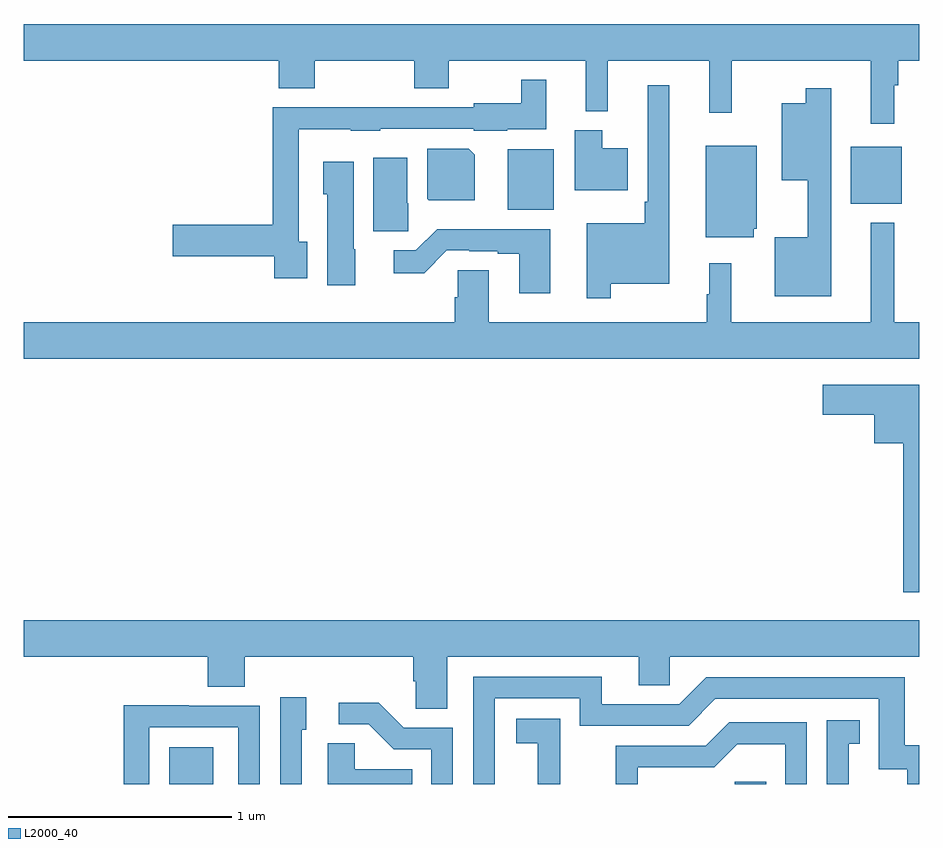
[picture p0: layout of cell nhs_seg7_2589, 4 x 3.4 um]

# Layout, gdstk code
import gdstk
lib = gdstk.Library(unit=1e-6, precision=1e-09)
def R(c, l, rs):  # rectangles x0, y0, x1, y1
    for r in rs: c.add(gdstk.rectangle(r[:2], r[2:], *l))
def P(c, l, *ps):  # polygons
    for p in ps: c.add(gdstk.Polygon(p, *l))
L2000_40 = (2000, 40)

nhs_seg7_2589 = lib.new_cell('nhs_seg7_2589')
R(nhs_seg7_2589, L2000_40, [(279.65,1048,279.847,1048.165), (282.177,1048,282.317,1048.011), (281.162,1050.566,281.368,1050.836), (282.695,1050.593,282.922,1050.847)])
P(nhs_seg7_2589, L2000_40, [(282.889,1051.123),(282.907,1051.123),(282.907,1051.232),(283,1051.232),(283,1051.396),(279,1051.396),(279,1051.232),(280.139,1051.232),(280.139,1051.108),(280.299,1051.108),(280.299,1051.232),(280.744,1051.232),(280.744,1051.108),(280.899,1051.108),(280.899,1051.232),(281.51,1051.232),(281.51,1051.007),(281.609,1051.007),(281.609,1051.232),(282.062,1051.232),(282.062,1050.999),(282.162,1050.999),(282.162,1051.232),(282.785,1051.232),(282.785,1050.951),(282.889,1050.951)],
  [(280.267,1050.422),(280.227,1050.422),(280.227,1050.926),(280.461,1050.926),(280.461,1050.92),(280.593,1050.92),(280.593,1050.927),(281.01,1050.927),(281.01,1050.92),(281.16,1050.92),(281.16,1050.926),(281.333,1050.926),(281.333,1051.147),(281.223,1051.147),(281.223,1051.042),(281.01,1051.042),(281.01,1051.023),(280.593,1051.023),(280.593,1051.025),(280.361,1051.025),(280.361,1051.023),(280.111,1051.023),(280.111,1050.5),(279.666,1050.5),(279.666,1050.358),(280.119,1050.358),(280.119,1050.261),(280.267,1050.261)],
  [(281.623,1050.236),(281.884,1050.236),(281.884,1051.123),(281.787,1051.123),(281.787,1050.601),(281.775,1050.601),(281.775,1050.505),(281.514,1050.505),(281.514,1050.171),(281.623,1050.171)],
  [(282.607,1051.108),(282.493,1051.108),(282.493,1051.042),(282.386,1051.042),(282.386,1050.698),(282.503,1050.698),(282.503,1050.442),(282.356,1050.442),(282.356,1050.179),(282.607,1050.179)],
  [(281.698,1050.841),(281.584,1050.841),(281.584,1050.922),(281.462,1050.922),(281.462,1050.653),(281.698,1050.653)],
  [(282.262,1050.48),(282.274,1050.48),(282.274,1050.853),(282.047,1050.853),(282.047,1050.443),(282.262,1050.443)],
  [(281.014,1050.812),(280.988,1050.838),(280.802,1050.838),(280.802,1050.616),(280.81,1050.608),(281.014,1050.608)],
  [(280.718,1050.594),(280.714,1050.594),(280.714,1050.799),(280.562,1050.799),(280.562,1050.471),(280.718,1050.471)],
  [(280.48,1050.39),(280.474,1050.39),(280.474,1050.781),(280.337,1050.781),(280.337,1050.636),(280.355,1050.636),(280.355,1050.228),(280.48,1050.228)],
  [(283,1050.064),(282.889,1050.064),(282.889,1050.508),(282.785,1050.508),(282.785,1050.064),(282.161,1050.064),(282.161,1050.328),(282.062,1050.328),(282.062,1050.188),(282.051,1050.188),(282.051,1050.064),(281.077,1050.064),(281.077,1050.296),(280.938,1050.296),(280.938,1050.174),(280.925,1050.174),(280.925,1050.064),(279,1050.064),(279,1049.9),(283,1049.9)],
  [(281.353,1050.479),(280.847,1050.479),(280.752,1050.384),(280.653,1050.384),(280.653,1050.282),(280.788,1050.282),(280.89,1050.384),(280.99,1050.384),(280.99,1050.381),(281.117,1050.381),(281.117,1050.369),(281.213,1050.369),(281.213,1050.192),(281.353,1050.192)],
  [(283,1049.785),(282.57,1049.785),(282.57,1049.651),(282.8,1049.651),(282.8,1049.522),(282.93,1049.522),(282.93,1048.857),(283,1048.857)],
  [(280.891,1048.568),(281.747,1048.568),(281.747,1048.441),(281.886,1048.441),(281.886,1048.568),(283,1048.568),(283,1048.732),(279,1048.732),(279,1048.568),(279.821,1048.568),(279.821,1048.435),(279.986,1048.435),(279.986,1048.568),(280.739,1048.568),(280.739,1048.459),(280.752,1048.459),(280.752,1048.336),(280.891,1048.336)],
  [(281.103,1048.383),(281.484,1048.383),(281.484,1048.26),(281.97,1048.26),(282.09,1048.38),(282.819,1048.38),(282.819,1048.065),(282.948,1048.065),(282.948,1048),(283,1048),(283,1048.174),(282.935,1048.174),(282.935,1048.476),(282.048,1048.476),(281.928,1048.356),(281.581,1048.356),(281.581,1048.479),(281.007,1048.479),(281.007,1048),(281.103,1048)],
  [(280.242,1048.242),(280.261,1048.242),(280.261,1048.387),(280.146,1048.387),(280.146,1048),(280.242,1048)],
  [(280.917,1048.251),(280.698,1048.251),(280.585,1048.364),(280.407,1048.364),(280.407,1048.266),(280.541,1048.266),(280.652,1048.155),(280.821,1048.155),(280.821,1048),(280.917,1048)],
  [(279.561,1048.254),(279.957,1048.254),(279.957,1048),(280.053,1048),(280.053,1048.35),(279.737,1048.35),(279.737,1048.352),(279.445,1048.352),(279.445,1048),(279.561,1048)],
  [(281.396,1048.085),(281.397,1048.085),(281.397,1048.291),(281.199,1048.291),(281.199,1048.181),(281.297,1048.181),(281.297,1048),(281.396,1048)],
  [(282.685,1048.179),(282.734,1048.179),(282.734,1048.285),(282.588,1048.285),(282.588,1048),(282.685,1048)],
  [(281.742,1048.074),(282.084,1048.074),(282.188,1048.178),(282.402,1048.178),(282.402,1048),(282.498,1048),(282.498,1048.275),(282.152,1048.275),(282.047,1048.17),(281.644,1048.17),(281.644,1048),(281.742,1048)],
  [(280.736,1048.066),(280.479,1048.066),(280.479,1048.181),(280.358,1048.181),(280.358,1048),(280.736,1048)])

lib.write_gds('nhs_seg7_2589.gds')
